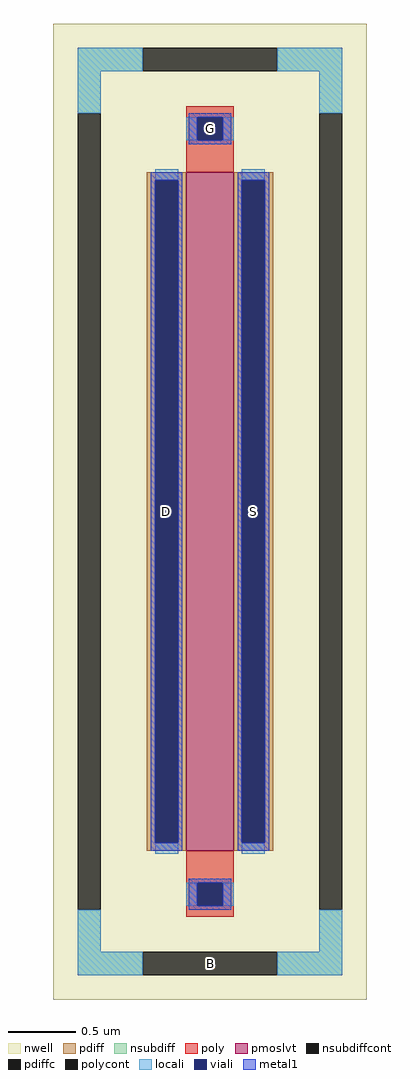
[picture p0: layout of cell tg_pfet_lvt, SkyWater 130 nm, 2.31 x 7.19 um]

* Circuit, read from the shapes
.subckt tg_pfet_lvt B D S G
XM1 S G D B sky130_fd_pr__pfet_01v8_lvt w=5 l=0.35
.ends

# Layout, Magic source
magic
tech sky130A
magscale 1 2
<< nwell >>
rect -231 -719 231 719
<< pmoslvt >>
rect -35 -500 35 500
<< pdiff >>
rect -93 488 -35 500
rect -93 -488 -81 488
rect -47 -488 -35 488
rect -93 -500 -35 -488
rect 35 488 93 500
rect 35 -488 47 488
rect 81 -488 93 488
rect 35 -500 93 -488
<< pdiffc >>
rect -81 -488 -47 488
rect 47 -488 81 488
<< nsubdiff >>
rect -195 649 -99 683
rect 99 649 195 683
rect -195 587 -161 649
rect 161 587 195 649
rect -195 -649 -161 -587
rect 161 -649 195 -587
rect -195 -683 -99 -649
rect 99 -683 195 -649
<< nsubdiffcont >>
rect -99 649 99 683
rect -195 -587 -161 587
rect 161 -587 195 587
rect -99 -683 99 -649
<< poly >>
rect -35 581 35 597
rect -35 547 -19 581
rect 19 547 35 581
rect -35 500 35 547
rect -35 -547 35 -500
rect -35 -581 -19 -547
rect 19 -581 35 -547
rect -35 -597 35 -581
<< polycont >>
rect -19 547 19 581
rect -19 -581 19 -547
<< locali >>
rect -195 649 -99 683
rect 99 649 195 683
rect -195 587 -161 649
rect 161 587 195 649
rect -35 547 -19 581
rect 19 547 35 581
rect -81 488 -47 504
rect -81 -504 -47 -488
rect 47 488 81 504
rect 47 -504 81 -488
rect -35 -581 -19 -547
rect 19 -581 35 -547
rect -195 -649 -161 -587
rect 161 -649 195 -587
rect -195 -683 -99 -649
rect 99 -683 195 -649
<< viali >>
rect -19 547 19 581
rect -81 -488 -47 488
rect 47 -488 81 488
rect -19 -581 19 -547
<< metal1 >>
rect -31 581 31 587
rect -31 547 -19 581
rect 19 547 31 581
rect -31 541 31 547
rect -87 488 -41 500
rect -87 -488 -81 488
rect -47 -488 -41 488
rect -87 -500 -41 -488
rect 41 488 87 500
rect 41 -488 47 488
rect 81 -488 87 488
rect 41 -500 87 -488
rect -31 -547 31 -541
rect -31 -581 -19 -547
rect 19 -581 31 -547
rect -31 -587 31 -581
<< labels >>
rlabel nsubdiffcont 0 -666 0 -666 0 B
port 1 nsew
rlabel pdiffc -64 0 -64 0 0 D
port 2 nsew
rlabel pdiffc 64 0 64 0 0 S
port 3 nsew
rlabel polycont 0 564 0 564 0 G
port 4 nsew
<< properties >>
string FIXED_BBOX -178 -666 178 666
<< end >>
